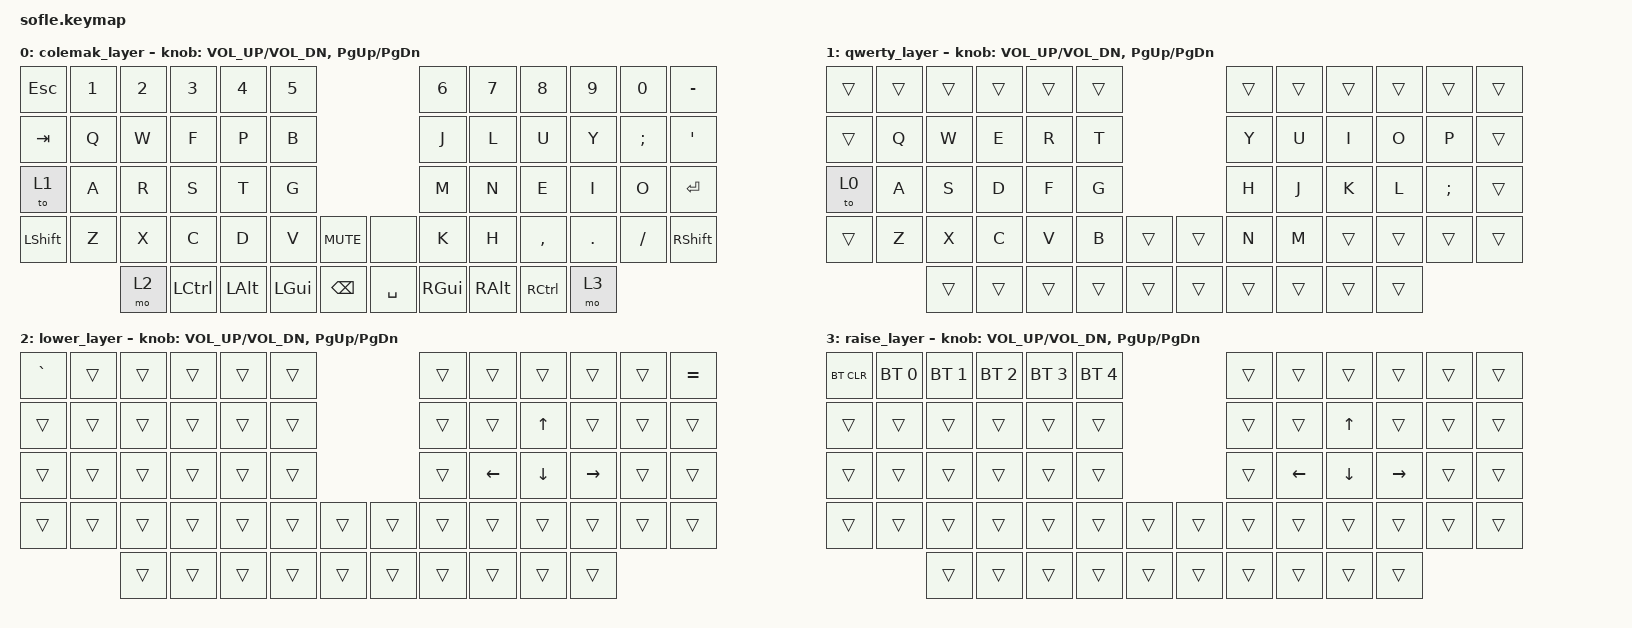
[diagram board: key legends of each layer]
/*
 * Copyright (c) 2020 The ZMK Contributors
 *
 * SPDX-License-Identifier: MIT
 */

#include <behaviors.dtsi>
#include <dt-bindings/zmk/bt.h>
#include <dt-bindings/zmk/keys.h>

#define	COLEMAK	0
#define	QWERTY	1
#define	LOWER	2
#define	RAISE	3

/ {
    keymap {
        compatible = "zmk,keymap";

        colemak_layer {
            // --------------------------------------------------------------------------------------------
            // |  ESC  |  1  |  2  |  3  |  4  |  5  |              |  6  |  7  |  8  |  9  |  0  |   -   |
            // |  TAB  |  Q  |  W  |  F  |  P  |  B  |              |  J  |  L  |  U  |  Y  |  ;  |   '   |
            // | TO(1) |  A  |  R  |  S  |  T  |  G  |              |  M  |  N  |  E  |  I  |  O  | ENTER |
            // | SHIFT |  Z  |  X  |  C  |  D  |  V  | MUTE|  |     |  K  |  H  |  ,  |  .  |  /  | SHIFT |
            //               | LWR | CTRL| ALT | GUI |BKSPC|  | SPC | GUI | ALT |CTRL | RSE |

            bindings = <
&kp ESC    &kp N1  &kp N2  &kp N3     &kp N4    &kp N5                           &kp N6    &kp N7    &kp N8     &kp N9     &kp N0    &kp MINUS
&kp TAB    &kp Q   &kp W   &kp F      &kp P     &kp B                            &kp J     &kp L     &kp U      &kp Y      &kp SEMI  &kp SQT
&to 1      &kp A   &kp R   &kp S      &kp T     &kp G                            &kp M     &kp N     &kp E      &kp I      &kp O     &kp RET
&kp LSHFT  &kp Z   &kp X   &kp C      &kp D     &kp V     &kp C_MUTE  &none      &kp K     &kp H     &kp COMMA  &kp DOT    &kp FSLH  &kp RSHFT
                   &mo 2   &kp LCTRL  &kp LALT  &kp LGUI  &kp BSPC    &kp SPACE  &kp RGUI  &kp RALT  &kp RCTRL  &mo 3
            >;

            sensor-bindings = <&inc_dec_kp C_VOL_UP C_VOL_DN &inc_dec_kp PG_UP PG_DN>;
        };

        qwerty_layer {
            // --------------------------------------------------------------------------------------------
            // |       |     |     |     |     |     |              |     |     |     |     |     |       |
            // |       |  Q  |  W  |  E  |  R  |  T  |              |  Y  |  U  |  I  |  O  |  P  |       |
            // | TO(0) |  A  |  S  |  D  |  F  |  G  |              |  H  |  J  |  K  |  L  |  ;  |       |
            // |       |  Z  |  X  |  C  |  V  |  B  |     |  |     |  N  |  M  |     |     |     |       |
            //               |     |     |     |     |     |  |     |     |     |     |     |            

            bindings = <
&trans  &trans  &trans  &trans  &trans  &trans                    &trans  &trans  &trans  &trans  &trans    &trans
&trans  &kp Q   &kp W   &kp E   &kp R   &kp T                     &kp Y   &kp U   &kp I   &kp O   &kp P     &trans
&to 0   &kp A   &kp S   &kp D   &kp F   &kp G                     &kp H   &kp J   &kp K   &kp L   &kp SEMI  &trans
&trans  &kp Z   &kp X   &kp C   &kp V   &kp B   &trans    &trans  &kp N   &kp M   &trans  &trans  &trans    &trans
                &trans  &trans  &trans  &trans  &trans    &trans  &trans  &trans  &trans  &trans
            >;

            sensor-bindings = <&inc_dec_kp C_VOL_UP C_VOL_DN &inc_dec_kp PG_UP PG_DN>;
        };

        lower_layer {
            // --------------------------------------------------------------------------------------------
            // |   `   |     |     |     |     |     |              |     |     |     |     |     |   +   |
            // |       |     |     |     |     |     |              |     |     |  ^  |     |     |       |
            // |       |     |     |     |     |     |              |     |  <- |  v  | ->  |     |       |
            // |       |     |     |     |     |     |     |  |     |     |     |     |     |     |       |
            //               |     |     |     |     |     |  |     |     |     |     |     |

            bindings = <
&kp GRAVE  &trans  &trans  &trans  &trans  &trans                    &trans  &trans    &trans    &trans     &trans  &kp EQUAL
&trans     &trans  &trans  &trans  &trans  &trans                    &trans  &trans    &kp UP    &trans     &trans  &trans
&trans     &trans  &trans  &trans  &trans  &trans                    &trans  &kp LEFT  &kp DOWN  &kp RIGHT  &trans  &trans
&trans     &trans  &trans  &trans  &trans  &trans  &trans    &trans  &trans  &trans    &trans    &trans     &trans  &trans
                   &trans  &trans  &trans  &trans  &trans    &trans  &trans  &trans    &trans    &trans
            >;

            sensor-bindings = <&inc_dec_kp C_VOL_UP C_VOL_DN &inc_dec_kp PG_UP PG_DN>;
        };

        raise_layer {
            // --------------------------------------------------------------------------------------------
            // | BTCLR | BT1 | BT2 | BT3 | BT4 | BT5 |              |     |     |     |     |     |       |
            // |       |     |     |     |     |     |              |     |     |  ^  |     |     |       |
            // |       |     |     |     |     |     |              |     |  <- |  v  | ->  |     |       |
            // |       |     |     |     |     |     |     |  |     |     |     |     |     |     |       |
            //               |     |     |     |     |     |  |     |     |     |     |     |

            bindings = <
&bt BT_CLR  &bt BT_SEL 0  &bt BT_SEL 1  &bt BT_SEL 2  &bt BT_SEL 3  &bt BT_SEL 4                    &trans  &trans    &trans    &trans     &trans  &trans
&trans      &trans        &trans        &trans        &trans        &trans                          &trans  &trans    &kp UP    &trans     &trans  &trans
&trans      &trans        &trans        &trans        &trans        &trans                          &trans  &kp LEFT  &kp DOWN  &kp RIGHT  &trans  &trans
&trans      &trans        &trans        &trans        &trans        &trans        &trans    &trans  &trans  &trans    &trans    &trans     &trans  &trans
                          &trans        &trans        &trans        &trans        &trans    &trans  &trans  &trans    &trans    &trans
            >;

            sensor-bindings = <&inc_dec_kp C_VOL_UP C_VOL_DN &inc_dec_kp PG_UP PG_DN>;
        };
    };
};
